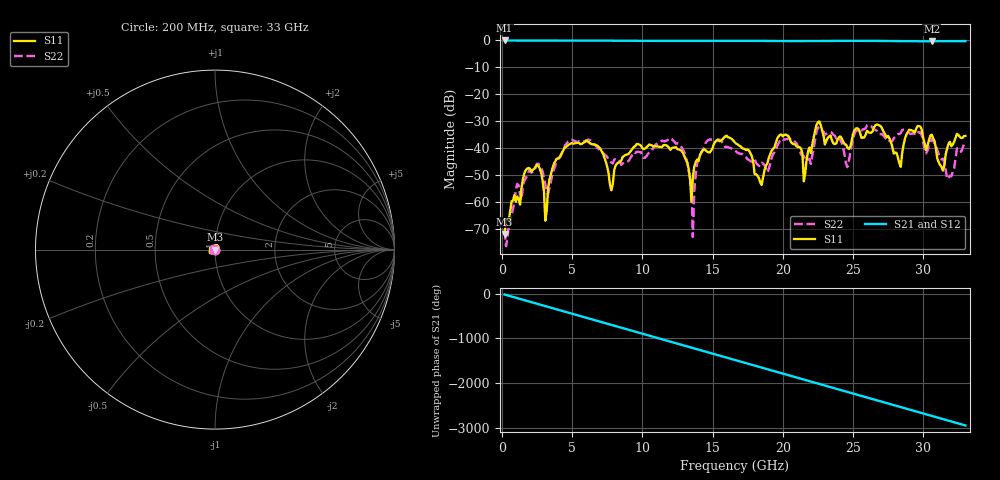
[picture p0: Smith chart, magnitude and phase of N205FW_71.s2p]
# GHZ S RI R 50
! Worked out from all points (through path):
!   329 points, 200 MHz to 33 GHz, reference 50 ohm
!   highest |S21| = -0.02 dB at 200 MHz (marker M1); lowest = -0.3 dB at 30.6 GHz (marker M2)
!   group delay of S21, straight-line fit = 248 ps
!   lowest |S11| = -71.8 dB at 200 MHz (marker M3), VSWR 1.00, Z = 50 + j0.0146 ohm
!   |S11| at or under -10 dB: start of sweep to end of sweep
!   |S22| runs from -76.3 to -31.3 dB; largest |S21 - S12| = 0.0022
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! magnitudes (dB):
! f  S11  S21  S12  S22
! 200 MHz  -71.8  0.0  0.0  -70.7
! 1.7 GHz  -48.1  -0.1  -0.1  -51.2
! 2.8 GHz  -48.9  -0.1  -0.1  -47.2
! 3.1 GHz  -66.8  -0.1  -0.1  -53.6
! 3.7 GHz  -45.9  -0.1  -0.1  -47.9
! 5.7 GHz  -38.3  -0.1  -0.1  -37.4
! 7.8 GHz  -55.6  -0.1  -0.1  -45.3
! 11.2 GHz  -39.5  -0.2  -0.2  -37.7
! 13 GHz  -43.0  -0.2  -0.2  -41.6
! 13.5 GHz  -59.8  -0.2  -0.2  -55.0
! 13.6 GHz  -50.7  -0.2  -0.2  -72.9
! 13.9 GHz  -44.2  -0.1  -0.2  -45.6
! 14.5 GHz  -40.7  -0.1  -0.1  -38.1
! 16.6 GHz  -37.9  -0.1  -0.1  -40.9
! 18.5 GHz  -53.6  -0.2  -0.2  -45.3
! 19.8 GHz  -35.0  -0.2  -0.2  -37.2
! 21.5 GHz  -52.3  -0.3  -0.3  -42.9
! 22.1 GHz  -38.8  -0.2  -0.2  -42.7
! 27.6 GHz  -36.4  -0.2  -0.2  -37.3
! 30.6 GHz  -35.0  -0.3  -0.3  -36.5
! 31.7 GHz  -40.1  -0.3  -0.3  -51.4
! 33 GHz  -35.4  -0.3  -0.3  -37.6
